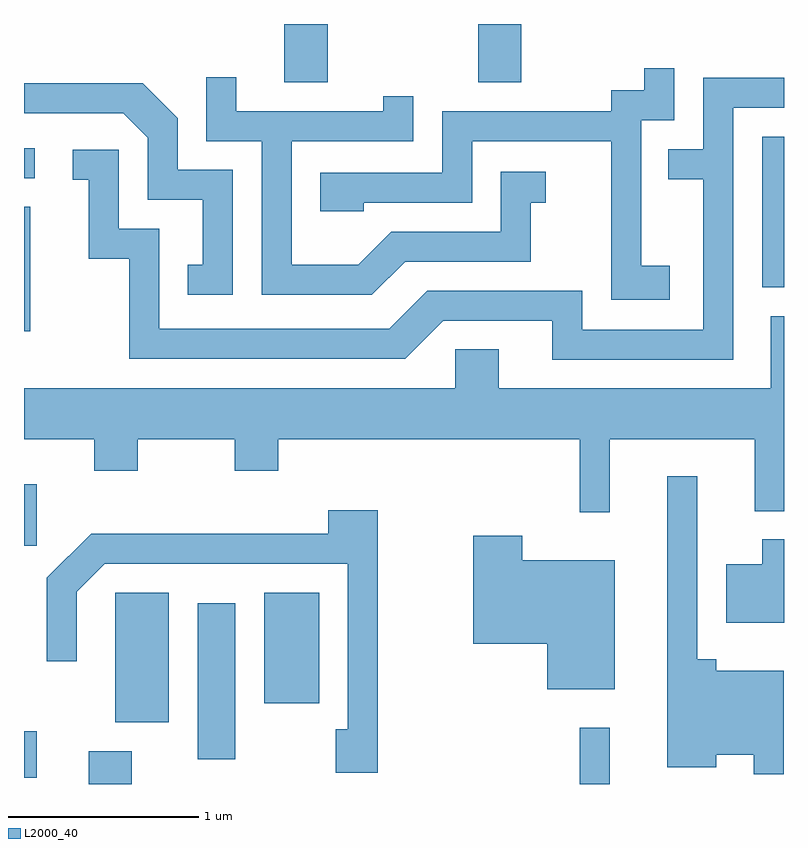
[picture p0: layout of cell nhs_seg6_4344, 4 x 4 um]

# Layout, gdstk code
import gdstk
lib = gdstk.Library(unit=1e-6, precision=1e-09)
def R(c, l, rs):  # rectangles x0, y0, x1, y1
    for r in rs: c.add(gdstk.rectangle(r[:2], r[2:], *l))
def P(c, l, *ps):  # polygons
    for p in ps: c.add(gdstk.Polygon(p, *l))
L2000_40 = (2000, 40)

nhs_seg6_4344 = lib.new_cell('nhs_seg6_4344')
R(nhs_seg6_4344, L2000_40, [(317.951,1608.162,318.179,1608.334), (320.536,1608.162,320.694,1608.458), (317.611,1608.196,317.679,1608.439), (318.526,1608.291,318.724,1609.114), (318.091,1608.486,318.374,1609.169), (318.876,1608.586,319.164,1609.169), (317.611,1609.416,317.679,1609.739), (317.611,1610.546,317.644,1611.199), (321.496,1610.776,321.611,1611.569), (317.611,1611.351,317.668,1611.509), (318.981,1611.856,319.209,1612.162), (320.001,1611.856,320.229,1612.162)])
P(nhs_seg6_4344, L2000_40, [(321.009,1610.889),(320.859,1610.889),(320.859,1611.656),(321.034,1611.656),(321.034,1611.928),(320.876,1611.928),(320.876,1611.814),(320.701,1611.814),(320.701,1611.704),(319.811,1611.704),(319.811,1611.379),(319.171,1611.379),(319.171,1611.176),(319.399,1611.176),(319.399,1611.221),(319.969,1611.221),(319.969,1611.546),(320.701,1611.546),(320.701,1610.711),(321.009,1610.711)],
  [(319.617,1610.911),(320.279,1610.911),(320.279,1611.221),(320.358,1611.221),(320.358,1611.384),(320.121,1611.384),(320.121,1611.069),(319.544,1611.069),(319.369,1610.894),(319.019,1610.894),(319.019,1611.546),(319.659,1611.546),(319.659,1611.783),(319.501,1611.783),(319.501,1611.704),(318.729,1611.704),(318.729,1611.883),(318.571,1611.883),(318.571,1611.546),(318.861,1611.546),(318.861,1610.736),(319.442,1610.736)],
  [(321.344,1611.721),(321.611,1611.721),(321.611,1611.879),(321.186,1611.879),(321.186,1611.504),(321.003,1611.504),(321.003,1611.346),(321.186,1611.346),(321.186,1610.554),(320.549,1610.554),(320.549,1610.759),(319.734,1610.759),(319.534,1610.559),(318.324,1610.559),(318.324,1611.084),(318.109,1611.084),(318.109,1611.499),(317.868,1611.499),(317.868,1611.341),(317.951,1611.341),(317.951,1610.926),(318.166,1610.926),(318.166,1610.401),(319.617,1610.401),(319.817,1610.601),(320.391,1610.601),(320.391,1610.396),(321.344,1610.396)],
  [(318.709,1611.394),(318.419,1611.394),(318.419,1611.667),(318.237,1611.849),(317.611,1611.849),(317.611,1611.691),(318.134,1611.691),(318.261,1611.564),(318.261,1611.236),(318.551,1611.236),(318.551,1610.894),(318.473,1610.894),(318.473,1610.736),(318.709,1610.736)],
  [(320.694,1609.976),(321.456,1609.976),(321.456,1609.598),(321.611,1609.598),(321.611,1610.624),(321.541,1610.624),(321.541,1610.244),(320.109,1610.244),(320.109,1610.449),(319.881,1610.449),(319.881,1610.244),(317.611,1610.244),(317.611,1609.976),(317.981,1609.976),(317.981,1609.811),(318.209,1609.811),(318.209,1609.976),(318.721,1609.976),(318.721,1609.811),(318.949,1609.811),(318.949,1609.976),(320.536,1609.976),(320.536,1609.593),(320.694,1609.593)],
  [(321.609,1608.759),(321.254,1608.759),(321.254,1608.819),(321.154,1608.819),(321.154,1609.783),(320.996,1609.783),(320.996,1608.251),(321.254,1608.251),(321.254,1608.316),(321.451,1608.316),(321.451,1608.213),(321.609,1608.213)],
  [(319.474,1609.604),(319.211,1609.604),(319.211,1609.479),(317.964,1609.479),(317.731,1609.247),(317.731,1608.808),(317.889,1608.808),(317.889,1609.174),(318.037,1609.321),(319.316,1609.321),(319.316,1608.449),(319.251,1608.449),(319.251,1608.221),(319.474,1608.221)],
  [(320.719,1609.339),(320.234,1609.339),(320.234,1609.469),(319.976,1609.469),(319.976,1608.901),(320.366,1608.901),(320.366,1608.661),(320.719,1608.661)],
  [(321.611,1609.449),(321.496,1609.449),(321.496,1609.319),(321.306,1609.319),(321.306,1609.011),(321.611,1609.011)])

lib.write_gds('nhs_seg6_4344.gds')
